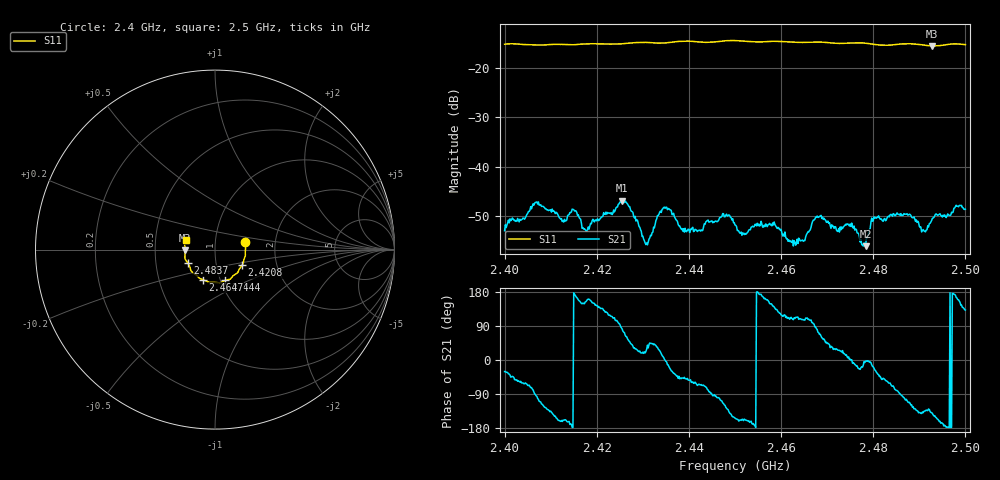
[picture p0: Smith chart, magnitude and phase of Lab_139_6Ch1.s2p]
# Hz S RI R 50
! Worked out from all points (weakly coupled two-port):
!   601 points, 2.4 GHz to 2.5 GHz, reference 50 ohm
!   highest |S21| = -46.82 dB at 2.4255 GHz (marker M1); lowest = -56.0 dB at 2.4783 GHz (marker M2)
!   lowest |S11| = -15.6 dB at 2.4928 GHz (marker M3), VSWR 1.40, Z = 35.8 - j0.345 ohm
!   |S11| at or under -10 dB: start of sweep to end of sweep
!   S12 and S22 are empty: the file has one direction only
!   S11 on the Smith chart (normalised r, x): 2.4 GHz: 1.40, +0.12; 2.4208 GHz: 1.33, -0.24; 2.444 GHz: 1.06, -0.37; 2.4647 GHz: 0.83, -0.29; 2.4837 GHz: 0.73, -0.11; 2.5 GHz: 0.72, +0.08
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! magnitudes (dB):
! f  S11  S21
! 2.4 GHz  -15.3  -52.9
! 2.4068 GHz  -15.4  -47.2
! 2.4152 GHz  -15.4  -48.9
! 2.4167 GHz  -15.2  -51.4
! 2.4208 GHz  -15.2  -50.3
! 2.4255 GHz  -15.2  -46.8
! 2.4307 GHz  -14.9  -55.7
! 2.4333 GHz  -15.0  -49.8
! 2.4355 GHz  -15.0  -48.4
! 2.4392 GHz  -14.6  -52.4
! 2.444 GHz  -14.9  -50.8
! 2.45 GHz  -14.5  -51.7
! 2.4647 GHz  -14.9  -54.8
! 2.4667 GHz  -14.8  -51.5
! 2.4748 GHz  -15.0  -51.9
! 2.4783 GHz  -15.1  -56.0
! 2.48 GHz  -15.3  -50.9
! 2.4833 GHz  -15.5  -50.0
! 2.4837 GHz  -15.4  -49.7
! 2.491 GHz  -15.4  -52.9
! 2.4928 GHz  -15.6  -50.4
! 2.5 GHz  -15.3  -48.5
